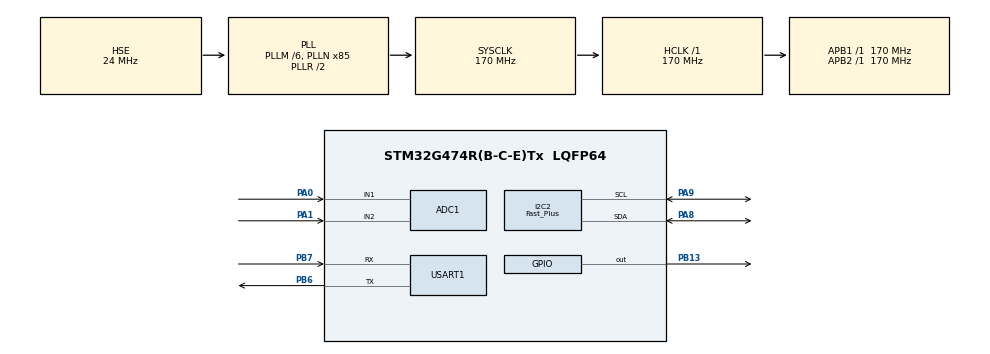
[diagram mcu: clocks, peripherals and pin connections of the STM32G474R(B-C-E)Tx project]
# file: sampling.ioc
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ADC1.Channel-0\#ChannelRegularConversion=ADC_CHANNEL_1
ADC1.Channel-1\#ChannelRegularConversion=ADC_CHANNEL_2
ADC1.DMAContinuousRequests=ENABLE
ADC1.ExternalTrigConv=ADC_EXTERNALTRIG_HRTIM_TRG1
ADC1.NbrOfConversion=2
ADC1.NbrOfConversionFlag=1
ADC1.OffsetNumber-0\#ChannelRegularConversion=ADC_OFFSET_NONE
ADC1.OffsetNumber-1\#ChannelRegularConversion=ADC_OFFSET_NONE
ADC1.OversamplingMode=ENABLE
ADC1.Rank-0\#ChannelRegularConversion=1
ADC1.Rank-1\#ChannelRegularConversion=2
ADC1.Ratio=ADC_OVERSAMPLING_RATIO_4
ADC1.RightBitShift=ADC_RIGHTBITSHIFT_1
ADC1.SamplingTime-0\#ChannelRegularConversion=ADC_SAMPLETIME_2CYCLES_5
ADC1.SamplingTime-1\#ChannelRegularConversion=ADC_SAMPLETIME_2CYCLES_5
ADC1.master=1
Dma.ADC1.0.Direction=DMA_PERIPH_TO_MEMORY
Dma.ADC1.0.EventEnable=DISABLE
Dma.ADC1.0.Instance=DMA1_Channel1
Dma.ADC1.0.MemDataAlignment=DMA_MDATAALIGN_HALFWORD
Dma.ADC1.0.MemInc=DMA_MINC_ENABLE
Dma.ADC1.0.Mode=DMA_CIRCULAR
Dma.ADC1.0.PeriphDataAlignment=DMA_PDATAALIGN_HALFWORD
Dma.ADC1.0.PeriphInc=DMA_PINC_DISABLE
Dma.ADC1.0.Polarity=HAL_DMAMUX_REQ_GEN_RISING
Dma.ADC1.0.Priority=DMA_PRIORITY_HIGH
Dma.ADC1.0.RequestNumber=1
Dma.ADC1.0.SignalID=NONE
Dma.ADC1.0.SyncEnable=DISABLE
Dma.ADC1.0.SyncPolarity=HAL_DMAMUX_SYNC_NO_EVENT
Dma.ADC1.0.SyncRequestNumber=1
Dma.ADC1.0.SyncSignalID=NONE
Dma.Request0=ADC1
HRTIM1.ADCTrigger1_Source1=HRTIM_ADCTRIGGEREVENT13_MASTER_PERIOD
HRTIM1.ADCTrigger_Id1=HRTIM_ADCTRIGGER_1
HRTIM1.CompareUnit1-MasterTimer=HRTIM_COMPAREUNIT_1
HRTIM1.CompareValue1-MasterTimer=27200
HRTIM1.NumberADCTriggerSource1=1
HRTIM1.Periode_MASTER=54400
HRTIM1.PreloadEnable-MasterTimer=HRTIM_PRELOAD_ENABLED
HRTIM1.RepetitionUpdate-MasterTimer=HRTIM_UPDATEONREPETITION_ENABLED
I2C2.I2C_Speed_Mode=I2C_Fast_Plus
I2C2.Timing=0x00802172
Mcu.Family=STM32G4
Mcu.Name=STM32G474R(B-C-E)Tx
Mcu.Package=LQFP64
NVIC.DMA1_Channel1_IRQn=true\:0\:0\:false\:false\:true\:false\:true\:true
NVIC.HRTIM1_Master_IRQn=true\:0\:0\:false\:false\:true\:true\:true\:true
NVIC.PriorityGroup=NVIC_PRIORITYGROUP_4
NVIC.TIM2_IRQn=true\:0\:0\:false\:false\:true\:true\:true\:true
NVIC.USART1_IRQn=true\:0\:0\:false\:false\:true\:true\:true\:true
PA0.Mode=IN1-Single-Ended
PA0.Signal=ADC1_IN1
PA1.Mode=IN2-Single-Ended
PA1.Signal=ADC1_IN2
PA13.Mode=Serial_Wire
PA13.Signal=SYS_JTMS-SWDIO
PA14.Mode=Serial_Wire
PA14.Signal=SYS_JTCK-SWCLK
PA8.GPIO_Speed=GPIO_SPEED_FREQ_VERY_HIGH
PA8.Mode=I2C
PA8.Signal=I2C2_SDA
PA9.GPIO_Speed=GPIO_SPEED_FREQ_VERY_HIGH
PA9.Mode=I2C
PA9.Signal=I2C2_SCL
PB13.Signal=GPIO_Output
PB6.Mode=Asynchronous
PB6.Signal=USART1_TX
PB7.Mode=Asynchronous
PB7.Signal=USART1_RX
PC14-OSC32_IN.Mode=LSE-External-Oscillator
PC14-OSC32_IN.Signal=RCC_OSC32_IN
PC15-OSC32_OUT.Mode=LSE-External-Oscillator
PC15-OSC32_OUT.Signal=RCC_OSC32_OUT
PF0-OSC_IN.Mode=HSE-External-Oscillator
PF0-OSC_IN.Signal=RCC_OSC_IN
PF1-OSC_OUT.Mode=HSE-External-Oscillator
PF1-OSC_OUT.Signal=RCC_OSC_OUT
ProjectManager.HeapSize=0x200
ProjectManager.StackSize=0x400
ProjectManager.TargetToolchain=MDK-ARM V5.32
RCC.ADC12Freq_Value=170000000
RCC.ADC345Freq_Value=170000000
RCC.AHBFreq_Value=170000000
RCC.APB1Freq_Value=170000000
RCC.APB1TimFreq_Value=170000000
RCC.APB2Freq_Value=170000000
RCC.APB2TimFreq_Value=170000000
RCC.CortexFreq_Value=170000000
RCC.EXTERNAL_CLOCK_VALUE=12288000
RCC.HCLKFreq_Value=170000000
RCC.HSE_VALUE=24000000
RCC.HSI48_VALUE=48000000
RCC.HSI_VALUE=16000000
RCC.PLLM=RCC_PLLM_DIV6
RCC.PLLN=85
RCC.PLLSourceVirtual=RCC_PLLSOURCE_HSE
RCC.SYSCLKFreq_VALUE=170000000
RCC.SYSCLKSource=RCC_SYSCLKSOURCE_PLLCLK
RCC.USBFreq_Value=170000000
RCC.VCOOutputFreq_Value=340000000
TIM2.PeriodNoDither=1000
TIM2.Prescaler=170
TIM2.TIM_MasterOutputTrigger=TIM_TRGO_UPDATE
USART1.VirtualMode-Asynchronous=VM_ASYNC
VP_HRTIM1_VS_hrtimMasterTimerNoOutput.Mode=MasterTimer
VP_SYS_VS_DBSignals.Mode=DisableDeadBatterySignals
VP_TIM2_VS_ClockSourceINT.Mode=Internal
board=custom

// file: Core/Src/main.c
/* USER CODE BEGIN Header */
/**
  ******************************************************************************
  * @file           : main.c
  * @brief          : Main program body
  ******************************************************************************
  * @attention
  *
  * Copyright (c) 2024 STMicroelectronics.
  * All rights reserved.
  *
  * This software is licensed under terms that can be found in the LICENSE file
  * in the root directory of this software component.
  * If no LICENSE file comes with this software, it is provided AS-IS.
  *
  ******************************************************************************
  */
/* USER CODE END Header */
#include "main.h"
#include "adc.h"
#include "dma.h"
#include "hrtim.h"
#include "i2c.h"
#include "tim.h"
#include "usart.h"
#include "gpio.h"

/* USER CODE BEGIN Includes */
#include "stdio.h"
#include "OLED.h"
#include "OLED_Data.h"
/* USER CODE END Includes */

/* USER CODE BEGIN PD */
union Vol_s
{
  int v;
  char h_val[4];
};
union Cur_s
{
  int i;
  char h_val[4];
};

union Vol_s vol_s;
union Cur_s cur_s;
uint16_t AD0, AD1, AD2, AD3,SendData;
uint16_t AD_v[31],AD_c[31];
uint16_t temp_v,temp_c;
uint16_t ADv_sum=0,ADc_sum=0,ADv_avg=0,ADc_avg=0;
uint8_t cur_l,cur_h;
uint8_t vol_l,vol_h;
int samp_flag=0;
int t = 0;
int i = 0;
int j=0;
int k=0;
float voltage,current;
float voltage_avg,current_avg;
extern uint8_t Serial_TxPacket[];
volatile uint16_t ADC_DMAresulet[2];
/* USER CODE END PD */

/* USER CODE BEGIN PM */

#define ADC_MAX_VALUE 8192.0
#define REF_3V3 3.3
/* USER CODE END PM */

void SystemClock_Config(void);

int main(void)
{

  /* MCU Configuration--------------------------------------------------------*/

  /* Reset of all peripherals, Initializes the Flash interface and the Systick. */
  HAL_Init();

  /* Configure the system clock */
  SystemClock_Config();

  /* Initialize all configured peripherals */
  MX_GPIO_Init();
  MX_DMA_Init();
  MX_TIM2_Init();
  MX_USART1_UART_Init();
  MX_ADC1_Init();
  MX_HRTIM1_Init();
  MX_I2C2_Init();
  /* USER CODE BEGIN 2 */
	HAL_HRTIM_WaveformCounterStart(&hhrtim1,HRTIM_TIMERID_MASTER);
	HAL_ADCEx_Calibration_Start(&hadc1, ADC_SINGLE_ENDED);
	HAL_ADC_Start_DMA(&hadc1,(uint32_t*)ADC_DMAresulet,2);

	HAL_TIM_Base_Start_IT(&htim2);

	HAL_UART_Transmit(&huart1,"AT+RST\r\n",sizeof("AT+RST\r\n"),0xFFFF);
	HAL_Delay(500);

	HAL_UART_Transmit(&huart1,"AT+CWMODE=1\r\n",sizeof("AT+CWMODE=1\r\n"),0xFFFF);
	HAL_Delay(1000);

	HAL_UART_Transmit(&huart1,"AT+RST\r\n",sizeof("AT+RST\r\n"),0xFFFF);
	HAL_Delay(500);

	HAL_UART_Transmit(&huart1,"AT+CWJAP=\"ESP-01S\",\"12345678\"\r\n",sizeof("AT+CWJAP=\"ESP-01S\",\"12345678\"\r\n"),0xFFFF);
	HAL_Delay(5000);

	HAL_UART_Transmit(&huart1,"AT+CIFSR\r\n",sizeof("AT+CIFSR\r\n"),0xFFFF);
	HAL_Delay(500);

	HAL_UART_Transmit(&huart1,"AT+CIPMUX=0\r\n",sizeof("AT+CIPMUX=0\r\n"),0xFFFF);
	HAL_Delay(500);

	HAL_UART_Transmit(&huart1,"AT+CIPSTART=\"TCP\",\"192.168.4.1\",8080\r\n",sizeof("AT+CIPSTART=\"TCP\",\"192.168.4.1\",8080\r\n"),0xFFFF);
	HAL_Delay(4000);

	HAL_UART_Transmit(&huart1,"AT+CIPMODE=1\r\n",sizeof("AT+CIPMODE=1\r\n"),0xFFFF);
	HAL_Delay(500);

	HAL_UART_Transmit(&huart1,"AT+CIPSEND\r\n",sizeof("AT+CIPSEND\r\n"),0xFFFF);

	OLED_Init();
	OLED_Clear();
	OLED_ShowString(0,0, "V_OUT",OLED_8X16);
	OLED_ShowString(0,16, "I_OUT",OLED_8X16);
  OLED_ShowChar(40, 0, ':', OLED_8X16);
  OLED_ShowChar(40, 16, ':', OLED_8X16);

  OLED_ShowString(0,32, "OVP:",OLED_8X16);
  OLED_ShowString(0,48, "OCP:",OLED_8X16);

  OLED_ShowChar(72 + 8 * 6, 0, 'V', OLED_8X16);
  OLED_ShowChar(72 + 8 * 6, 16, 'A', OLED_8X16);
	OLED_ShowChar(72 + 8 * 6, 32, 'V', OLED_8X16);
  OLED_ShowChar(72 + 8 * 6, 48, 'A', OLED_8X16);
	OLED_Update();

//  /* USER CODE END 2 */

  /* Infinite loop */
  /* USER CODE BEGIN WHILE */
  while (1)
  {
		if(samp_flag == 1)
		{
			samp_flag = 0;

			AD0 = ADC_DMAresulet[0];   //电压采样值*REF_3V3/ADC_MAX_VALUE
			AD1 =  ADC_DMAresulet[1];   //电流采样值*REF_3V3/ADC_MAX_VALUE
			AD_v[i] = AD0;
			AD_c[i] = AD1;
			i++;

			if(i == 30)                         // 1k/30
			{
				i = 0;
				for(j=0;j<30;j++)
				{
					for(k=0;k<j;k++)
					{
						if(AD_v[k] > AD_v[j])
						{
							temp_v = AD_v[k];
							AD_v[k] = AD_v[j];
							AD_v[j] = temp_v;
						}
						if(AD_c[k] > AD_c[j])
						{
							temp_c = AD_c[k];
							AD_c[k] = AD_c[j];
							AD_c[j] = temp_c;
						}
					}
				}
				for(j=13;j<18;j++)
				{
					ADv_sum += AD_v[j];
					ADc_sum += AD_c[j];
				}

				ADv_avg = ADv_sum / 5;
				ADc_avg = ADc_sum / 5;

				ADv_sum = 0;
				ADc_sum = 0;

				vol_s.v = ADv_avg;
				cur_s.i = ADc_avg;

				//电压
				Serial_TxPacket[0] = vol_s.h_val[0];
				Serial_TxPacket[1] = vol_s.h_val[1];
				Serial_TxPacket[2] = vol_s.h_val[2];
				Serial_TxPacket[3] = vol_s.h_val[3];

				//电流
				Serial_TxPacket[4] = cur_s.h_val[0];
				Serial_TxPacket[5] = cur_s.h_val[1];
				Serial_TxPacket[6] = cur_s.h_val[2];
				Serial_TxPacket[7] = cur_s.h_val[3];

				Serial_SendPacket();

				voltage = ((float)ADv_avg/8190.0*3.3)*24.666+0.4199;
				current = ((float)ADc_avg/8190.0*3.3)*5.575+0.1186;

//				voltage = ((float)vol_s.v/8192.0*3.3);
//	      current = ((float)cur_s.i/8192.0*3.3);

//				OLED_ShowChar(40, 0, ':', OLED_8X16);
//        OLED_ShowChar(40, 16, ':', OLED_8X16);
//
//
//        OLED_ShowChar(72 + 8 * 6, 0, 'V', OLED_8X16);
//        OLED_ShowChar(72 + 8 * 6, 16, 'A', OLED_8X16);

     OLED_ShowNum(56, 0, voltage , 3, OLED_8X16);
     OLED_ShowChar(56 + 8 * 3, 0, '.', OLED_8X16);
     OLED_ShowNum(56 + 8 * 4, 0, (uint16_t)((voltage ) * 1000) % 1000, 3, OLED_8X16);

     OLED_ShowNum(56, 16, current , 3, OLED_8X16);
     OLED_ShowChar(56 + 8 * 3, 16, '.', OLED_8X16);
     OLED_ShowNum(56 + 8 * 4, 16, (uint16_t)((current ) * 1000) % 1000, 3, OLED_8X16);

     OLED_ShowNum(56, 32, 65 , 2, OLED_8X16);
		 OLED_ShowNum(56, 48, 10 , 2, OLED_8X16); OLED_ShowChar(56 + 8 * 2, 48, '.', OLED_8X16);  OLED_ShowNum(56 + 8 * 3, 48, 5 , 1, OLED_8X16);

	   OLED_Update();

			}
	  }
	}
    /* USER CODE END WHILE */

}

void SystemClock_Config(void)
{
  RCC_OscInitTypeDef RCC_OscInitStruct = {0};
  RCC_ClkInitTypeDef RCC_ClkInitStruct = {0};

  /** Configure the main internal regulator output voltage
  */
  HAL_PWREx_ControlVoltageScaling(PWR_REGULATOR_VOLTAGE_SCALE1_BOOST);

  /** Initializes the RCC Oscillators according to the specified parameters
  * in the RCC_OscInitTypeDef structure.
  */
  RCC_OscInitStruct.OscillatorType = RCC_OSCILLATORTYPE_HSE;
  RCC_OscInitStruct.HSEState = RCC_HSE_ON;
  RCC_OscInitStruct.PLL.PLLState = RCC_PLL_ON;
  RCC_OscInitStruct.PLL.PLLSource = RCC_PLLSOURCE_HSE;
  RCC_OscInitStruct.PLL.PLLM = RCC_PLLM_DIV6;
  RCC_OscInitStruct.PLL.PLLN = 85;
  RCC_OscInitStruct.PLL.PLLP = RCC_PLLP_DIV2;
  RCC_OscInitStruct.PLL.PLLQ = RCC_PLLQ_DIV2;
  RCC_OscInitStruct.PLL.PLLR = RCC_PLLR_DIV2;
  if (HAL_RCC_OscConfig(&RCC_OscInitStruct) != HAL_OK)
  {
    Error_Handler();
  }

  /** Initializes the CPU, AHB and APB buses clocks
  */
  RCC_ClkInitStruct.ClockType = RCC_CLOCKTYPE_HCLK|RCC_CLOCKTYPE_SYSCLK
                              |RCC_CLOCKTYPE_PCLK1|RCC_CLOCKTYPE_PCLK2;
  RCC_ClkInitStruct.SYSCLKSource = RCC_SYSCLKSOURCE_PLLCLK;
  RCC_ClkInitStruct.AHBCLKDivider = RCC_SYSCLK_DIV1;
  RCC_ClkInitStruct.APB1CLKDivider = RCC_HCLK_DIV1;
  RCC_ClkInitStruct.APB2CLKDivider = RCC_HCLK_DIV1;

  if (HAL_RCC_ClockConfig(&RCC_ClkInitStruct, FLASH_LATENCY_4) != HAL_OK)
  {
    Error_Handler();
  }
}

/* USER CODE BEGIN 4 */
void HAL_TIM_PeriodElapsedCallback(TIM_HandleTypeDef *htim)
{
	if (htim->Instance == TIM2)
	HAL_GPIO_TogglePin(GPIOB, GPIO_PIN_13);
	samp_flag = 1;
}
/* USER CODE END 4 */

void Error_Handler(void)
{
  __disable_irq();
  while (1)
  {
  }
}
